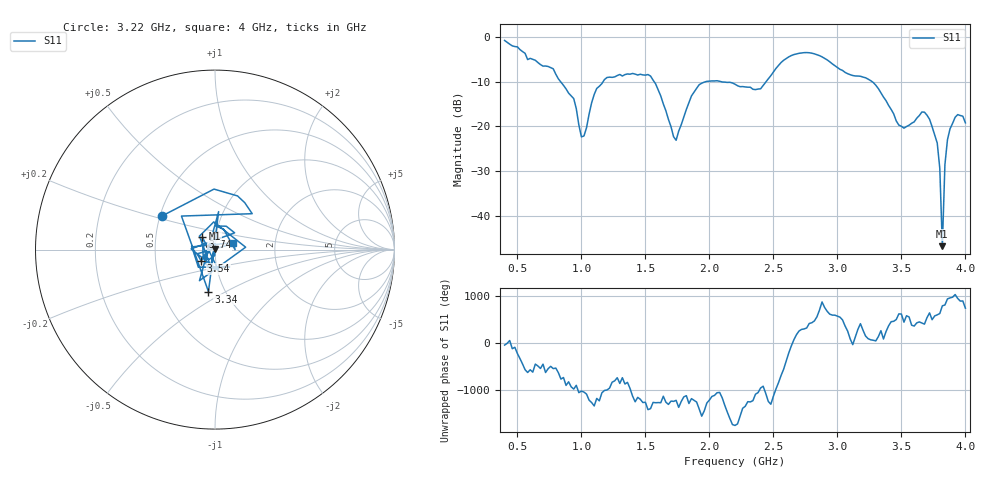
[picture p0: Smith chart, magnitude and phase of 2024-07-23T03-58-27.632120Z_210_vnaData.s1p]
!Created with skrf (http://scikit-rf.org).
# Hz S RI R 50.0
!freq ReS11 ImS11
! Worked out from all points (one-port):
!   181 points, 400 MHz to 4 GHz, reference 50 ohm
!   lowest |S11| = -46.8 dB at 3.82 GHz (marker M1), VSWR 1.01, Z = 50.1 + j0.43 ohm
!   |S11| at or under -10 dB: 1.568 GHz to 1.973 GHz (404.9 MHz wide, 22.9 % of centre); 2.09 GHz to 2.442 GHz (352.4 MHz wide, 15.6 % of centre); 3.271 GHz to end of sweep (the widest 3 of 4)
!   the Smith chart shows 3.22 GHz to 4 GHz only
!   S11 on the Smith chart (normalised r, x): 3.22 GHz: 0.51, +0.22; 3.34 GHz: 0.84, -0.41; 3.54 GHz: 0.85, -0.11; 3.74 GHz: 0.86, +0.12; 4 GHz: 1.22, +0.10
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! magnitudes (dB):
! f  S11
! 400 MHz  -0.8
! 780 MHz  -7.1
! 860 MHz  -10.8
! 940 MHz  -13.8
! 1 GHz  -22.4
! 1.12 GHz  -11.5
! 1.3 GHz  -8.4
! 1.54 GHz  -8.8
! 1.72 GHz  -22.3
! 1.76 GHz  -21.1
! 1.92 GHz  -10.7
! 2.2 GHz  -10.6
! 2.4 GHz  -11.6
! 2.66 GHz  -3.9
! 3.1 GHz  -8.4
! 3.22 GHz  -9.1
! 3.34 GHz  -12.5
! 3.54 GHz  -20.1
! 3.56 GHz  -19.8
! 3.68 GHz  -16.8
! 3.74 GHz  -20.1
! 3.78 GHz  -23.8
! 3.8 GHz  -29.4
! 3.82 GHz  -46.8
! 3.84 GHz  -28.6
! 3.86 GHz  -23.0
! 3.94 GHz  -17.4
! 4 GHz  -19.2
